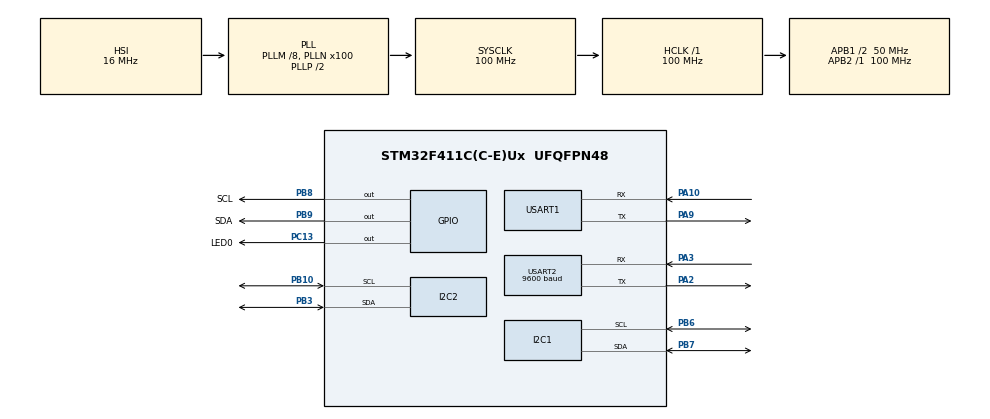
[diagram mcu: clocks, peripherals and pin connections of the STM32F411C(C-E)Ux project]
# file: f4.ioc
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Dma.Request0=USART2_TX
Dma.Request1=USART1_RX
Dma.Request2=USART1_TX
Dma.USART1_RX.1.Direction=DMA_PERIPH_TO_MEMORY
Dma.USART1_RX.1.FIFOMode=DMA_FIFOMODE_DISABLE
Dma.USART1_RX.1.Instance=DMA2_Stream2
Dma.USART1_RX.1.MemDataAlignment=DMA_MDATAALIGN_BYTE
Dma.USART1_RX.1.MemInc=DMA_MINC_ENABLE
Dma.USART1_RX.1.Mode=DMA_NORMAL
Dma.USART1_RX.1.PeriphDataAlignment=DMA_PDATAALIGN_BYTE
Dma.USART1_RX.1.PeriphInc=DMA_PINC_DISABLE
Dma.USART1_RX.1.Priority=DMA_PRIORITY_LOW
Dma.USART1_TX.2.Direction=DMA_MEMORY_TO_PERIPH
Dma.USART1_TX.2.FIFOMode=DMA_FIFOMODE_DISABLE
Dma.USART1_TX.2.Instance=DMA2_Stream7
Dma.USART1_TX.2.MemDataAlignment=DMA_MDATAALIGN_BYTE
Dma.USART1_TX.2.MemInc=DMA_MINC_ENABLE
Dma.USART1_TX.2.Mode=DMA_NORMAL
Dma.USART1_TX.2.PeriphDataAlignment=DMA_PDATAALIGN_BYTE
Dma.USART1_TX.2.PeriphInc=DMA_PINC_DISABLE
Dma.USART1_TX.2.Priority=DMA_PRIORITY_HIGH
Dma.USART2_TX.0.Direction=DMA_MEMORY_TO_PERIPH
Dma.USART2_TX.0.FIFOMode=DMA_FIFOMODE_DISABLE
Dma.USART2_TX.0.Instance=DMA1_Stream6
Dma.USART2_TX.0.MemDataAlignment=DMA_MDATAALIGN_BYTE
Dma.USART2_TX.0.MemInc=DMA_MINC_ENABLE
Dma.USART2_TX.0.Mode=DMA_NORMAL
Dma.USART2_TX.0.PeriphDataAlignment=DMA_PDATAALIGN_BYTE
Dma.USART2_TX.0.PeriphInc=DMA_PINC_DISABLE
Dma.USART2_TX.0.Priority=DMA_PRIORITY_MEDIUM
IWDG.Prescaler=IWDG_PRESCALER_32
IWDG.Reload=4000
Mcu.Family=STM32F4
Mcu.Name=STM32F411C(C-E)Ux
Mcu.Package=UFQFPN48
NVIC.DMA1_Stream6_IRQn=true\:0\:0\:false\:false\:true\:false\:true\:true
NVIC.DMA2_Stream2_IRQn=true\:0\:0\:false\:false\:true\:false\:true\:true
NVIC.DMA2_Stream7_IRQn=true\:0\:0\:false\:false\:true\:false\:true\:true
NVIC.PriorityGroup=NVIC_PRIORITYGROUP_4
NVIC.USART1_IRQn=true\:0\:0\:false\:false\:true\:true\:true\:true
NVIC.USART2_IRQn=true\:0\:0\:false\:false\:true\:true\:true\:true
PA10.Mode=Asynchronous
PA10.Signal=USART1_RX
PA13.Mode=Serial_Wire
PA13.Signal=SYS_JTMS-SWDIO
PA14.Mode=Serial_Wire
PA14.Signal=SYS_JTCK-SWCLK
PA2.Mode=Asynchronous
PA2.Signal=USART2_TX
PA3.Mode=Asynchronous
PA3.Signal=USART2_RX
PA9.Mode=Asynchronous
PA9.Signal=USART1_TX
PB10.Mode=I2C
PB10.Signal=I2C2_SCL
PB3.Mode=I2C
PB3.Signal=I2C2_SDA
PB6.Mode=I2C
PB6.Signal=I2C1_SCL
PB7.Mode=I2C
PB7.Signal=I2C1_SDA
PB8.GPIO_Label=SCL
PB8.Signal=GPIO_Output
PB9.GPIO_Label=SDA
PB9.Signal=GPIO_Output
PC13-ANTI_TAMP.GPIO_Label=LED0
PC13-ANTI_TAMP.Signal=GPIO_Output
PC14-OSC32_IN.Mode=LSE-External-Oscillator
PC14-OSC32_IN.Signal=RCC_OSC32_IN
PC15-OSC32_OUT.Mode=LSE-External-Oscillator
PC15-OSC32_OUT.Signal=RCC_OSC32_OUT
PH0\ -\ OSC_IN.Mode=HSE-External-Oscillator
PH0\ -\ OSC_IN.Signal=RCC_OSC_IN
PH1\ -\ OSC_OUT.Mode=HSE-External-Oscillator
PH1\ -\ OSC_OUT.Signal=RCC_OSC_OUT
ProjectManager.HeapSize=0x200
ProjectManager.StackSize=0x400
ProjectManager.TargetToolchain=MDK-ARM V5.32
RCC.48MHZClocksFreq_Value=50000000
RCC.AHBFreq_Value=100000000
RCC.APB1CLKDivider=RCC_HCLK_DIV2
RCC.APB1Freq_Value=50000000
RCC.APB1TimFreq_Value=100000000
RCC.APB2Freq_Value=100000000
RCC.APB2TimFreq_Value=100000000
RCC.CortexFreq_Value=100000000
RCC.HCLKFreq_Value=100000000
RCC.HSE_VALUE=25000000
RCC.HSI_VALUE=16000000
RCC.PLLM=8
RCC.PLLN=100
RCC.SYSCLKFreq_VALUE=100000000
RCC.SYSCLKSource=RCC_SYSCLKSOURCE_PLLCLK
RCC.VCOOutputFreq_Value=200000000
USART1.VirtualMode=VM_ASYNC
USART2.BaudRate=9600
USART2.VirtualMode=VM_ASYNC
VP_IWDG_VS_IWDG.Mode=IWDG_Activate
board=custom

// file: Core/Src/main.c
/* USER CODE BEGIN Header */
/**
  ******************************************************************************
  * @file           : main.c
  * @brief          : Main program body
  ******************************************************************************
  * @attention
  *
  * Copyright (c) 2024 STMicroelectronics.
  * All rights reserved.
  *
  * This software is licensed under terms that can be found in the LICENSE file
  * in the root directory of this software component.
  * If no LICENSE file comes with this software, it is provided AS-IS.
  *
  ******************************************************************************
  */
/* USER CODE END Header */
#include "main.h"
#include "dma.h"
#include "i2c.h"
#include "iwdg.h"
#include "usart.h"
#include "gpio.h"

/* USER CODE BEGIN Includes */
#include <string.h>
#include "mpu6050.h"
#include "inv_mpu.h"
#include "inv_mpu_dmp_motion_driver.h"
#include "pca9548.h"
#include "OLED.h"
#include "esp8266.h"
#include "onenet.h"

/* USER CODE END Includes */

/* USER CODE BEGIN PV */
float pitch, roll, yaw;
uint8_t txBuf[50];
uint8_t dataget=0;
//10个关节
int32_t head=-30,body=40,body_y=0,body_z=0,leftback0=-30,leftback0_z=0,leftback1=60,leftforward0=30,leftforward0_z=0,leftforward1=-30;
int32_t rightback0=-30,rightback0_z=0,rightback1=60,rightforward0=30,rightforward0_z=0,rightforward1=-30;
/* USER CODE END PV */

void SystemClock_Config(void);
/* USER CODE BEGIN PFP */

extern uint8_t Uart1_RxData;	//接收中断缓冲

/* USER CODE END PFP */

/* USER CODE BEGIN 0 */

void sentData_Uart(uint8_t port);

/* USER CODE END 0 */

int main(void)
{

  /* USER CODE BEGIN 1 */

	uint8_t i;
	uint8_t j;

  /* USER CODE END 1 */

  /* MCU Configuration--------------------------------------------------------*/

  /* Reset of all peripherals, Initializes the Flash interface and the Systick. */
  HAL_Init();

  /* Configure the system clock */
  SystemClock_Config();

  /* Initialize all configured peripherals */
  MX_GPIO_Init();
  MX_DMA_Init();
  MX_USART1_UART_Init();
  MX_USART2_UART_Init();
  MX_I2C1_Init();
  MX_I2C2_Init();

  /* USER CODE BEGIN 2 */
	HAL_GPIO_TogglePin(LED0_GPIO_Port, LED0_Pin);//系统初始化完成
	HAL_UART_Receive_IT(&huart1,(uint8_t *)&Uart1_RxData, 1);//开启串口中断
//	HAL_Delay(100);
//	OLED_Init();
//	HAL_Delay(100);
//  OLED_Clear();
//	/* esp8266连接wifi+连接Onenet */
//	HAL_Delay(500);
//	ESP8266_Init();					//初始化ESP8266，连接wifi
//	HAL_Delay(1000);
//
//	while(OneNet_DevLink())			//连接OneNET
//	HAL_Delay(2000);

	HAL_GPIO_TogglePin(LED0_GPIO_Port, LED0_Pin);//亮灯取反

	for(i = 0; i < 2; i++)//初始化传感器
	{
		selectPort(i);
		MPU_Init(); //初始化MPU6050
		OLED_Clear();OLED_ShowString(1,1,"MPU");
		OLED_ShowNum(1,4,i,1);

		while(mpu_dmp_init()) //DMP初始化
		{
			printf("MPU%d DMP failed.Err code：%d\r\n", i, mpu_dmp_init());
			OLED_ShowString(1,6,"Err");
		}
		printf("MPU%d int ok\r\n",i);
		OLED_ShowString(1,6,"init ok...");
	}
	HAL_Delay(1000);
	printf("System int ok\r\n");
	HAL_Delay(1000);

	MX_IWDG_Init();//初始化看门狗

	HAL_GPIO_TogglePin(LED0_GPIO_Port, LED0_Pin);//整个系统初始化完成
  /* USER CODE END 2 */

  /* Infinite loop */
  while (1)
  {

    /* USER CODE BEGIN 3 */

		dataget=0;

		for(j = 0; j < 3; j++)
		{
	  sentData_Uart(0);
	  sentData_Uart(1);
//		sentData_Uart(2);
//	  sentData_Uart(3);
//	  sentData_Uart(4);
//		sentData_Uart(5);
//		sentData_Uart(6);
//		sentData_Uart(7);
		}

    if(dataget==4)HAL_IWDG_Refresh(&hiwdg);   //看门狗喂狗条件

		HAL_Delay(100);

		OneNet_SendData();	//发送数据
		ESP8266_Clear();	//清空数据缓存区

		HAL_Delay(100);	//0.1s发送一次

		HAL_GPIO_TogglePin(LED0_GPIO_Port, LED0_Pin);//观察程序正常运行
  }
  /* USER CODE END 3 */
}

void SystemClock_Config(void)
{
  RCC_OscInitTypeDef RCC_OscInitStruct = {0};
  RCC_ClkInitTypeDef RCC_ClkInitStruct = {0};

  /** Configure the main internal regulator output voltage
  */
  __HAL_RCC_PWR_CLK_ENABLE();
  __HAL_PWR_VOLTAGESCALING_CONFIG(PWR_REGULATOR_VOLTAGE_SCALE1);

  /** Initializes the RCC Oscillators according to the specified parameters
  * in the RCC_OscInitTypeDef structure.
  */
  RCC_OscInitStruct.OscillatorType = RCC_OSCILLATORTYPE_HSI|RCC_OSCILLATORTYPE_LSI;
  RCC_OscInitStruct.HSIState = RCC_HSI_ON;
  RCC_OscInitStruct.HSICalibrationValue = RCC_HSICALIBRATION_DEFAULT;
  RCC_OscInitStruct.LSIState = RCC_LSI_ON;
  RCC_OscInitStruct.PLL.PLLState = RCC_PLL_ON;
  RCC_OscInitStruct.PLL.PLLSource = RCC_PLLSOURCE_HSI;
  RCC_OscInitStruct.PLL.PLLM = 8;
  RCC_OscInitStruct.PLL.PLLN = 100;
  RCC_OscInitStruct.PLL.PLLP = RCC_PLLP_DIV2;
  RCC_OscInitStruct.PLL.PLLQ = 4;
  if (HAL_RCC_OscConfig(&RCC_OscInitStruct) != HAL_OK)
  {
    Error_Handler();
  }

  /** Initializes the CPU, AHB and APB buses clocks
  */
  RCC_ClkInitStruct.ClockType = RCC_CLOCKTYPE_HCLK|RCC_CLOCKTYPE_SYSCLK
                              |RCC_CLOCKTYPE_PCLK1|RCC_CLOCKTYPE_PCLK2;
  RCC_ClkInitStruct.SYSCLKSource = RCC_SYSCLKSOURCE_PLLCLK;
  RCC_ClkInitStruct.AHBCLKDivider = RCC_SYSCLK_DIV1;
  RCC_ClkInitStruct.APB1CLKDivider = RCC_HCLK_DIV2;
  RCC_ClkInitStruct.APB2CLKDivider = RCC_HCLK_DIV1;

  if (HAL_RCC_ClockConfig(&RCC_ClkInitStruct, FLASH_LATENCY_3) != HAL_OK)
  {
    Error_Handler();
  }
}

/* USER CODE BEGIN 4 */
void sentData_Uart(uint8_t port)
{
	selectPort(port);
	if(mpu_dmp_get_data(&pitch, &roll, &yaw)==0){
		while(huart2.gState == HAL_UART_STATE_BUSY_TX);
		memset(txBuf, 0x00, sizeof(txBuf));
		snprintf((char *)txBuf,sizeof(txBuf),"P%d:%.3f,%.3f,%.3f,\r\n",port,pitch,roll,yaw);
		HAL_UART_Transmit_DMA(&huart2,txBuf,sizeof(txBuf));
		switch(port)
		{

			case 0:
				leftback0=(int)roll;leftback0_z=(int)pitch;dataget++;
				break;
			case 1:
				rightback0=(int)roll;rightback0_z=(int)pitch;dataget++;
				break;
			case 2:
				leftforward0=(int)roll;leftforward0_z=(int)pitch;dataget++;
				break;
			case 4:
				rightforward0=(int)roll;rightforward0_z=(int)pitch;
				break;
			case 5:
				body=(int)roll;body_y=(int)yaw;body_z=(int)pitch;
				break;
      default:
        break;
		}
	}
}
/* USER CODE END 4 */

void Error_Handler(void)
{
  __disable_irq();
  while (1)
  {
  }
}
